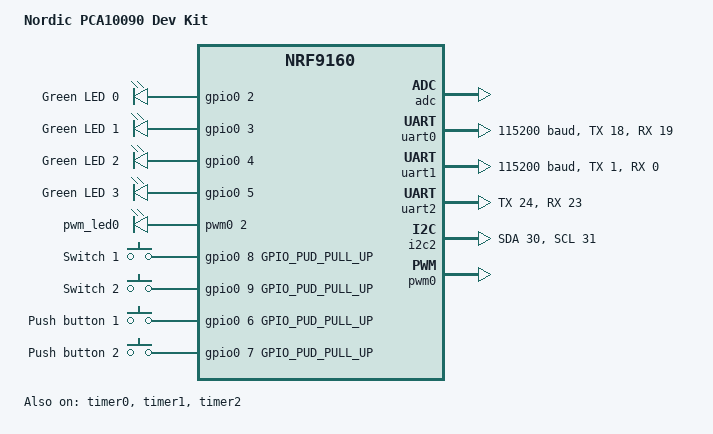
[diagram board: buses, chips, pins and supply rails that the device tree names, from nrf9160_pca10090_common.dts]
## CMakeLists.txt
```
#
# Copyright (c) 2019 Nordic Semiconductor
#
# SPDX-License-Identifier: LicenseRef-BSD-5-Clause-Nordic
#
cmake_minimum_required(VERSION 3.13.1)

include($ENV{ZEPHYR_BASE}/cmake/app/boilerplate.cmake NO_POLICY_SCOPE)
project(store_fs)

target_sources(app PRIVATE src/main.c)
target_sources(app PRIVATE src/elp_connect.c)
```

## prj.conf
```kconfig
#
# Copyright (c) 2019 Nordic Semiconductor ASA
#
# SPDX-License-Identifier: LicenseRef-BSD-5-Clause-Nordic
#
# General config
CONFIG_TEST_RANDOM_GENERATOR=y
CONFIG_LOG=y
CONFIG_LOG_DEFAULT_LEVEL=3

# Network
CONFIG_NETWORKING=y
CONFIG_NET_SOCKETS=y
CONFIG_DNS_RESOLVER=y
CONFIG_NET_NATIVE=n
CONFIG_NET_IPV4=y
CONFIG_NET_IPV6=n

# BSD library
CONFIG_BSD_LIBRARY=y
CONFIG_BSD_LIBRARY_TRACE_ENABLED=y

# Use GPIO
CONFIG_GPIO=y
CONFIG_GPIO_NRFX=y
CONFIG_GPIO_NRF_INIT_PRIORITY=40
CONFIG_GPIO_NRF_P0=y

# UART interface
CONFIG_SERIAL=y
CONFIG_UART_INTERRUPT_DRIVEN=y
#CONFIG_UART_1_NRF_UARTE=y
#CONFIG_UART_1_NRF_FLOW_CONTROL=n
#CONFIG_UART_3_NRF_UARTE=y
#CONFIG_UART_3_NRF_FLOW_CONTROL=n

# Stacks and heaps
CONFIG_MAIN_THREAD_PRIORITY=7
CONFIG_MAIN_STACK_SIZE=4096
CONFIG_HEAP_MEM_POOL_SIZE=16384

# LTE link control
#CONFIG_LTE_AUTO_INIT_AND_CONNECT=n
#CONFIG_LTE_NETWORK_MODE_LTE_M=y

# Device power management
CONFIG_DEVICE_POWER_MANAGEMENT=y

# Application-specific
# CONFIG_ELP_GPIO_WAKEUP=y
#CONFIG_ELP_LOG_LEVEL_INF=y

# setting for RTT Backend
CONFIG_LOG=y
CONFIG_LOG_PRINTK=n
CONFIG_USE_SEGGER_RTT=y
CONFIG_LOG_BACKEND_RTT=y
CONFIG_LOG_BACKEND_UART=n
CONFIG_LOG_IMMEDIATE=n
CONFIG_CONSOLE=n
CONFIG_RTT_CONSOLE=n
CONFIG_UART_CONSOLE=n

#add by liming
#CONFIG_DEPRECATED_ZEPHYR_INT_TYPES=y
```

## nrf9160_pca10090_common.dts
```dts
/*
 * Copyright (c) 2018 Nordic Semiconductor ASA
 *
 * SPDX-License-Identifier: Apache-2.0
 */

/ {
	model = "Nordic PCA10090 Dev Kit";
	compatible = "nordic,pca10090-dk", "nordic,nrf9160-sica",
		     "nordic,nrf9160";

	chosen {
		zephyr,console = &uart0;
		zephyr,shell-uart = &uart0;
		zephyr,uart-mcumgr = &uart0;
	};

	leds {
		compatible = "gpio-leds";
		led0: led_0 {
			gpios = <&gpio0 2 GPIO_INT_ACTIVE_HIGH>;
			label = "Green LED 0";
		};
		led1: led_1 {
			gpios = <&gpio0 3 GPIO_INT_ACTIVE_HIGH>;
			label = "Green LED 1";
		};
		led2: led_2 {
			gpios = <&gpio0 4 GPIO_INT_ACTIVE_HIGH>;
			label = "Green LED 2";
		};
		led3: led_3 {
			gpios = <&gpio0 5 GPIO_INT_ACTIVE_HIGH>;
			label = "Green LED 3";
		};
	};

	pwmleds {
		compatible = "pwm-leds";
		pwm_led0: pwm_led_0 {
			pwms = <&pwm0 2>;
		};
	};

	buttons {
		compatible = "gpio-keys";
		button0: button_0 {
			gpios = <&gpio0 8 GPIO_PUD_PULL_UP>;
			label = "Switch 1";
		};
		button1: button_1 {
			gpios = <&gpio0 9 GPIO_PUD_PULL_UP>;
			label = "Switch 2";
		};
		button2: button_2 {
			gpios = <&gpio0 6 GPIO_PUD_PULL_UP>;
			label = "Push button 1";
		};
		button3: button_3 {
			gpios = <&gpio0 7 GPIO_PUD_PULL_UP>;
			label = "Push button 2";
		};
	};

	/* These aliases are provided for compatibility with samples */
	aliases {
		led0 = &led0;
		led1 = &led1;
		led2 = &led2;
		led3 = &led3;
		pwm-led0 = &pwm_led0;
		sw0 = &button2;
		sw1 = &button3;
		sw2 = &button0;
		sw3 = &button1;
	};
};

&adc {
	status = "okay";
};

&gpiote {
	status = "okay";
};

&gpio0 {
	status = "okay";
};

&uart0 {
	status = "okay";
	current-speed = <115200>;
	tx-pin = <18>;
	rx-pin = <19>;
	rts-pin = <27>;
	cts-pin = <26>;
};

&uart1 {
	status = "okay";
	current-speed = <115200>;
	tx-pin = <1>;
	rx-pin = <0>;
	rts-pin = <14>;
	cts-pin = <15>;
};

&uart2 {
	tx-pin = <24>;
	rx-pin = <23>;
};

&i2c2 {
	compatible = "nordic,nrf-twim";
	status = "okay";
	sda-pin = <30>;
	scl-pin = <31>;
};

&pwm0 {
	status = "okay";
	ch0-pin = <2>;
};

&timer0 {
	status = "okay";
};

&timer1 {
	status = "okay";
};

&timer2 {
	status = "okay";
};

&flash0 {
	/*
	 * For more information, see:
	 * http://docs.zephyrproject.org/latest/guides/dts/index.html#flash-partitions
	 */
	partitions {
		compatible = "fixed-partitions";
		#address-cells = <1>;
		#size-cells = <1>;

		boot_partition: partition@0 {
			label = "mcuboot";
			reg = <0x00000000 0x10000>;
		};
		slot0_partition: partition@10000 {
			label = "image-0";
		};
		slot0_ns_partition: partition@40000 {
			label = "image-0-nonsecure";
		};
		slot1_partition: partition@80000 {
			label = "image-1";
		};
		slot1_ns_partition: partition@b0000 {
			label = "image-1-nonsecure";
		};
		scratch_partition: partition@f0000 {
			label = "image-scratch";
			reg = <0x000f0000 0xa000>;
		};
		storage_partition: partition@fa000 {
			label = "storage";
			reg = <0x000fa000 0x00006000>;
		};
	};
};

/ {
	/* SRAM allocated and used by the BSD library */
	sram0_bsd: memory@20010000 {
		compatible = "mmio-sram";
	};

	/* SRAM allocated to the Non-Secure image */
	sram0_ns: memory@20020000 {
		compatible = "mmio-sram";
	};
};

/* Include partition configuration file */
#include "nrf9160_pca10090_partition_conf.dts"
```

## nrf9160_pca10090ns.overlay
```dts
&uart0 {
	current-speed = <115200>;
	status = "okay";
	tx-pin = <7>;
	rx-pin = <28>;
};

&uart2 {
	current-speed = <115200>;
	status = "okay";
	tx-pin = <20>;
	rx-pin = <21>;
};

&uart3 {
	current-speed = <115200>;
	status = "okay";
	tx-pin = <12>;
	rx-pin = <13>;
};
```

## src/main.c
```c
/*
 * Copyright (c) 2019 Nordic Semiconductor ASA
 *
 * SPDX-License-Identifier: LicenseRef-BSD-5-Clause-Nordic
 */
#include <logging/log.h>

#include <zephyr.h>
#include <stdio.h>
#include <string.h>
#include <init.h>
#include <hal/nrf_gpio.h>
#include "elp_connect.h"

#include <drivers/uart.h>

LOG_MODULE_REGISTER(app, CONFIG_LOG_DEFAULT_LEVEL);

#define BUF_MAXSIZE 1024

static u32_t rece_len=0;

static u8_t rx_buf[BUF_MAXSIZE]={0};
static u8_t tx_buf[BUF_MAXSIZE]={0};

static struct device *uart_ble;

static K_FIFO_DEFINE(fifo_uart_tx_data);
static K_FIFO_DEFINE(fifo_uart_rx_data);

struct uart_data_t
{
	void  *fifo_reserved;
	u8_t    data[BUF_MAXSIZE];
	u16_t   len;
};

static void data_handler(u8_t cmd_type, const u8_t *data_buf, u8_t data_len)
{
  u8_t i;

  for(i=0;i<data_len;i++)
  {
      LOG_INF("len:%d, data[%d]:%02x", data_len, i, data_buf[i]);   
  }

   // LOG_INF("%s, %s, %d\n",cmd_type,data_buf,data_len);
}

void start_execute(void)
{
    int err;
    LOG_INF("here is to start uart example\n");
    err = inter_connect_init(data_handler,UART_0);
    if (err) {
	LOG_ERR("Init inter_connect error: %d", err);
	return;
    }	
}

void ble_send_date_handle(u8_t *buf, u32_t len)
{
	LOG_INF("ble_send_date_handle\n");

	uart_fifo_fill(uart_ble, buf, len);
	uart_irq_tx_enable(uart_ble); 
}

static void uart_receive_data(u8_t data, u32_t datalen)
{
	LOG_INF("uart_rece:%02X\n", data);
	
	rx_buf[rece_len++] = data;
	//if(rece_len == (256*rx_buf[1]+rx_buf[2]+3))	//receivive complete
	//{
	//	ble_receive_date_handle(rx_buf, rece_len);

	//	memset(rx_buf, 0, sizeof(rx_buf));
	//	rece_len = 0;
	//}
	//else				//continue receive
	//{
	//}
}

static void uart_cb(struct device *x)
{
	u8_t tmpbyte = 0;
	u32_t len=0;

	//LOG_INF("uart_cb\n");

	uart_irq_update(x);

	if(uart_irq_rx_ready(x)) 
	{
		while((len = uart_fifo_read(x, &tmpbyte, 1)) > 0)
			uart_receive_data(tmpbyte, 1);
	}
	
	if(uart_irq_tx_ready(x))
	{
		struct uart_data_t *buf;
		u16_t written = 0;

		buf = k_fifo_get(&fifo_uart_tx_data, K_NO_WAIT);
		/* Nothing in the FIFO, nothing to send */
		if(!buf)
		{
			uart_irq_tx_disable(x);
			return;
		}

		while(buf->len > written)
		{
			written += uart_fifo_fill(x, &buf->data[written], buf->len - written);
		}

		while (!uart_irq_tx_complete(x))
		{
			/* Wait for the last byte to get
			* shifted out of the module
			*/
		}

		if (k_fifo_is_empty(&fifo_uart_tx_data))
		{
			uart_irq_tx_disable(x);
		}

		k_free(buf);
	}
}

void ble_init(void)
{
	LOG_INF("ble_init\n");
	
	uart_ble = device_get_binding("UART_0");
	if(!uart_ble)
	{
		LOG_INF("Could not get %s device\n", uart_ble);
		return;
	}

	uart_irq_callback_set(uart_ble, uart_cb);
	uart_irq_rx_enable(uart_ble);
}

void main(void)
{
	//start_execute();
	ble_init();

    while(1)
    {
        k_sleep(K_MSEC(1000));    
    }
}
```

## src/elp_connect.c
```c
/*
 * Copyright (c) 2019 Nordic Semiconductor ASA
 *
 * SPDX-License-Identifier: LicenseRef-BSD-5-Clause-Nordic
 */
#include <logging/log.h>
#include <zephyr.h>
#include <stdio.h>
#include <string.h>
#include <drivers/uart.h>

#include "elp_connect.h"

#define CONFIG_UART_0_NAME	 "UART_0"
#define CONFIG_UART_1_NAME	 "UART_1"
#define CONFIG_UART_2_NAME	 "UART_2"
#define CONFIG_UART_3_NAME	 "UART_3"
#define CONFIG_INTER_CONNECT_UART_BUF_SIZE	1024

LOG_MODULE_REGISTER(conn, CONFIG_LOG_DEFAULT_LEVEL);

#if 0
/** @brief UARTs. */
enum select_uart {
	UART_0,
	UART_1,
	UART_2,
	UART_3
};
#endif

static data_handler_t data_handler_cb;
static struct device *uart_dev0;
static struct device *uart_dev1;
static struct device *uart_dev2;
static struct device *uart_dev3;
static u8_t rx_buff0[CONFIG_INTER_CONNECT_UART_BUF_SIZE];
static u8_t tx_buff0[CONFIG_INTER_CONNECT_UART_BUF_SIZE];
static u8_t rx_buff1[CONFIG_INTER_CONNECT_UART_BUF_SIZE];
static u8_t tx_buff1[CONFIG_INTER_CONNECT_UART_BUF_SIZE];
static u8_t rx_buff2[CONFIG_INTER_CONNECT_UART_BUF_SIZE];
static u8_t tx_buff2[CONFIG_INTER_CONNECT_UART_BUF_SIZE];
static u8_t rx_buff3[CONFIG_INTER_CONNECT_UART_BUF_SIZE];
static u8_t tx_buff3[CONFIG_INTER_CONNECT_UART_BUF_SIZE];

static bool module0_initialized;
static bool module1_initialized;
static bool module2_initialized;
static bool module3_initialized;

static struct k_work rx0_data_handle_work;
static struct k_work rx1_data_handle_work;
static struct k_work rx2_data_handle_work;
static struct k_work rx3_data_handle_work;
#define DEBUG_UART 1


static void rx0_data_handle(struct k_work *work)
{      
	ARG_UNUSED(work);
	if (data_handler_cb == NULL) {
		LOG_ERR("Not itialized");
		return;
	}

#if DEBUG_UART
	//printk("here to print received data\n");
	LOG_INF("here to print received data\n");
	//LOG_INF("%s\n", (char *)rx_buff0);
	printk("%s\n", (char *)rx_buff0);	
    memset(rx_buff0, 0x00, CONFIG_INTER_CONNECT_UART_BUF_SIZE);
#else
	data_handler_cb(rx_buff0[PROT_TYP_POS],
			&rx_buff0[PROT_LEN_POS+1],
			rx_buff0[PROT_LEN_POS]);
#endif
	uart_irq_rx_enable(uart_dev0);
}

static void rx1_data_handle(struct k_work *work)
{
        
	ARG_UNUSED(work);
        

	if (data_handler_cb == NULL) {
		LOG_ERR("Not itialized");
		return;
	}

#if DEBUG_UART
	//printk("here to print received data\n");
	printk("%s\n", (char *)rx_buff1);
        memset(rx_buff1, 0x00, CONFIG_INTER_CONNECT_UART_BUF_SIZE);

#else
	data_handler_cb(rx_buff1[PROT_TYP_POS],
			&rx_buff1[PROT_LEN_POS+1],
			rx_buff1[PROT_LEN_POS]);
#endif
	uart_irq_rx_enable(uart_dev1);
}

static void rx2_data_handle(struct k_work *work)
{
        
	ARG_UNUSED(work);
        

	if (data_handler_cb == NULL) {
		LOG_ERR("Not itialized");
		return;
	}

#if DEBUG_UART
	//printk("here to print received data\n");
	printk("%s\n", (char *)rx_buff2);
        memset(rx_buff2, 0x00, CONFIG_INTER_CONNECT_UART_BUF_SIZE);

#else
	data_handler_cb(rx_buff2[PROT_TYP_POS],
			&rx_buff2[PROT_LEN_POS+1],
			rx_buff2[PROT_LEN_POS]);
#endif
	uart_irq_rx_enable(uart_dev2);
}

static void rx3_data_handle(struct k_work *work)
{
        
	ARG_UNUSED(work);
        

	if (data_handler_cb == NULL) {
		LOG_ERR("Not itialized");
		return;
	}

#if DEBUG_UART
	//printk("here to print received data\n");
	printk("%s\n", (char *)rx_buff3);
        memset(rx_buff3, 0x00, CONFIG_INTER_CONNECT_UART_BUF_SIZE);

#else
	data_handler_cb(rx_buff3[PROT_TYP_POS],
			&rx_buff3[PROT_LEN_POS+1],
			rx_buff3[PROT_LEN_POS]);
#endif
	uart_irq_rx_enable(uart_dev3);
}

int inter_connect_send( enum select_uart uart_sel, u8_t *data_buff, u8_t data_len)
{
#if 0
  uart_poll_out(uart_dev, data_len);
#else
	if(data_len == 0) 
		return -1;
	for (size_t i = 0; i < data_len; i++) {

		switch (uart_sel) {
		case UART_0:
			uart_poll_out(uart_dev0, data_buff[i]);
			break;
		case UART_1:
			uart_poll_out(uart_dev1, data_buff[i]);
			break;
		case UART_2:
			uart_poll_out(uart_dev2, data_buff[i]);
			break;
		case UART_3:
			uart_poll_out(uart_dev3, data_buff[i]);
			break;
		default:
			LOG_ERR("Unknown UART instance %d", uart_sel);
			return -EINVAL;
		
	}
	}

	memset(data_buff, 0x00, data_len);
#endif

        return 0;
}


static void uart0_rx_handler(u8_t character)
{   
	static size_t cmd_len0;
	size_t pos;
#if 0 //DEBUG_UART
	LOG_INF("received %c", character );
#endif
	pos = cmd_len0;
	cmd_len0 += 1;
	/* Detect buffer overflow or zero length */
	if (cmd_len0 > CONFIG_INTER_CONNECT_UART_BUF_SIZE) {
		LOG_ERR("Buffer overflow, dropping '%c'", character);
		cmd_len0 = CONFIG_INTER_CONNECT_UART_BUF_SIZE;
		return;
	} else if (cmd_len0 < 1) {
		LOG_ERR("Invalid packet length: %d", cmd_len0);
		cmd_len0 = 0;
		return;
	}
	rx_buff0[pos] = character;
	/* Check if all packet is received. */
#if DEBUG_UART
	if(rx_buff0[pos] =='\n')
	{
		memset(tx_buff0, 0x00, CONFIG_INTER_CONNECT_UART_BUF_SIZE);
		memcpy(tx_buff0, rx_buff0, cmd_len0);
		//printk("to send\n");
		inter_connect_send(UART_0, tx_buff0, cmd_len0);
		//k_sleep(100);
		goto send;
	}
#else
	if (pos == (PROT_LEN_POS + pkt_length + 1)) {
		goto send;
	}
#endif

	return;

send:
	uart_irq_rx_disable(uart_dev0);
	k_work_submit(&rx0_data_handle_work);
	cmd_len0 = 0;
}



static void uart1_rx_handler(u8_t character)
{

    
	static size_t cmd_len1;
  
	size_t pos;
#if DEBUG_UART
	LOG_INF("received:%02X", character);
#endif

	pos = cmd_len1;
	cmd_len1 += 1;


	/* Detect buffer overflow or zero length */
	if (cmd_len1 > CONFIG_INTER_CONNECT_UART_BUF_SIZE) {
		LOG_ERR("Buffer overflow, dropping '%c'", character);
		cmd_len1 = CONFIG_INTER_CONNECT_UART_BUF_SIZE;
		return;
	} else if (cmd_len1 < 1) {
		LOG_ERR("Invalid packet length: %d", cmd_len1);
		cmd_len1 = 0;
		return;
	}

	rx_buff1[pos] = character;

	/* Check if all packet is received. */
	#if DEBUG_UART
	if(rx_buff1[pos] =='\n')
	{
		memset(tx_buff1, 0x00, CONFIG_INTER_CONNECT_UART_BUF_SIZE);
		memcpy(tx_buff1, rx_buff1, cmd_len1);
		//printk("to send\n");
		inter_connect_send(UART_1, tx_buff1, cmd_len1);
		//k_sleep(100);
		goto send;
	}

	#else
	if (pos == (PROT_LEN_POS + pkt_length + 1)) {
		goto send;
	}
	#endif
	return;

send:
	uart_irq_rx_disable(uart_dev1);
	k_work_submit(&rx1_data_handle_work);
	cmd_len1 = 0;

}


static void uart2_rx_handler(u8_t character)
{

    
	static size_t cmd_len2;
  
	size_t pos;
	#if 0//DEBUG_UART
	LOG_INF("received %c", character );
	#endif

	pos = cmd_len2;
	cmd_len2 += 1;


	/* Detect buffer overflow or zero length */
	if (cmd_len2 > CONFIG_INTER_CONNECT_UART_BUF_SIZE) {
		LOG_ERR("Buffer overflow, dropping '%c'", character);
		cmd_len2 = CONFIG_INTER_CONNECT_UART_BUF_SIZE;
		return;
	} else if (cmd_len2 < 1) {
		LOG_ERR("Invalid packet length: %d", cmd_len2);
		cmd_len2 = 0;
		return;
	}

	rx_buff2[pos] = character;

	/* Check if all packet is received. */
	#if DEBUG_UART
	if(rx_buff2[pos] =='\n')
	{
		memset(tx_buff2, 0x00, CONFIG_INTER_CONNECT_UART_BUF_SIZE);
		memcpy(tx_buff2, rx_buff2, cmd_len2);
		//printk("to send\n");
		inter_connect_send(UART_2, tx_buff2, cmd_len2);
		//k_sleep(100);
		goto send;
	}

	#else
	if (pos == (PROT_LEN_POS + pkt_length + 1)) {
		goto send;
	}
	#endif
	return;

send:
	uart_irq_rx_disable(uart_dev2);
	k_work_submit(&rx2_data_handle_work);
	cmd_len2 = 0;

}



static void uart3_rx_handler(u8_t character)
{

    
	static size_t cmd_len3;
  
	size_t pos;
	#if 0//DEBUG_UART
	LOG_INF("received %c", character );
	#endif

	pos = cmd_len3;
	cmd_len3 += 1;


	/* Detect buffer overflow or zero length */
	if (cmd_len3 > CONFIG_INTER_CONNECT_UART_BUF_SIZE) {
		LOG_ERR("Buffer overflow, dropping '%c'", character);
		cmd_len3 = CONFIG_INTER_CONNECT_UART_BUF_SIZE;
		return;
	} else if (cmd_len3 < 1) {
		LOG_ERR("Invalid packet length: %d", cmd_len3);
		cmd_len3 = 0;
		return;
	}

	rx_buff3[pos] = character;

	/* Check if all packet is received. */
	#if DEBUG_UART
	if(rx_buff3[pos] =='\n')
	{
		memset(tx_buff3, 0x00, CONFIG_INTER_CONNECT_UART_BUF_SIZE);
		memcpy(tx_buff3, rx_buff3, cmd_len3);
		//printk("to send\n");
		inter_connect_send(UART_3, tx_buff3, cmd_len3);
		//k_sleep(100);
		goto send;
	}

	#else
	if (pos == (PROT_LEN_POS + pkt_length + 1)) {
		goto send;
	}
	#endif
	return;

send:
	uart_irq_rx_disable(uart_dev3);
	k_work_submit(&rx3_data_handle_work);
	cmd_len3 = 0;

}


static void if0_isr(struct device *dev)
{
	u8_t character;
	u32_t i,len=0;
	u8_t tmpbuf[256] = {0};

	uart_irq_update(dev);
	if(uart_irq_rx_ready(dev))
	{
		/* keep reading until drain all */
		while (uart_fifo_read(dev, &character, 1))
		{
			//uart0_rx_handler(character);
			tmpbuf[len++] = character;
		}

		for(i=0;i<len;i++)
		{
			LOG_INF("len:%d, data[%d]:%02x", len, i, tmpbuf[i]);  
		}
	}
}

static void if1_isr(struct device *dev)
{
	u8_t character;

	uart_irq_update(dev);

	if (uart_irq_rx_ready(dev)) {
		/* keep reading until drain all */
		while (uart_fifo_read(dev, &character, 1)) {
			uart1_rx_handler( character);
		}
	}
}

static void if2_isr(struct device *dev)
{
	u8_t character;

	uart_irq_update(dev);

	if (uart_irq_rx_ready(dev)) {
		/* keep reading until drain all */
		while (uart_fifo_read(dev, &character, 1)) {
			uart2_rx_handler( character);
		}
	}
}

static void if3_isr(struct device *dev)
{
	u8_t character;

	uart_irq_update(dev);

	if (uart_irq_rx_ready(dev)) {
		/* keep reading until drain all */
		while (uart_fifo_read(dev, &character, 1)) {
			uart3_rx_handler(character);
		}
	}
}
#if 0
static int if_uart_init(char *uart_dev_name)
{
	int err;
	uart_dev = device_get_binding(uart_dev_name);
	if (uart_dev == NULL) {
		LOG_ERR("Cannot bind %s", uart_dev_name);
		return -EINVAL;
	}
	err = uart_err_check(uart_dev);
	if (err) {
		LOG_WRN("UART check failed: %d", err);
	}
	uart_irq_callback_set(uart_dev, if_isr);
	return 0;
}
#endif

int inter_connect_init(data_handler_t data_handler, enum select_uart uart_sel)
{
	char *uart_dev_name;
	int err;
	enum select_uart uart_id = uart_sel;

	if (data_handler == NULL) {
		LOG_ERR("Data handler is null");
		return -EINVAL;
	}
	data_handler_cb = data_handler;

	/* Choose which UART to use */
	switch (uart_id) {
	case UART_0:

		uart_dev0 = device_get_binding(CONFIG_UART_0_NAME);
		if (uart_dev0 == NULL) {
		LOG_ERR("Cannot bind %s", CONFIG_UART_0_NAME);
		return -EINVAL;
		}
		err = uart_err_check(uart_dev0);
		if (err) {
		LOG_WRN("UART check failed: %d", err);
		}
		uart_irq_callback_set(uart_dev0, if0_isr);
		k_work_init(&rx0_data_handle_work, rx0_data_handle);
		memset(rx_buff0, 0x00, CONFIG_INTER_CONNECT_UART_BUF_SIZE);
		uart_irq_rx_enable(uart_dev0);
		module0_initialized = true;
		break;

	case UART_1:
		uart_dev1 = device_get_binding(CONFIG_UART_1_NAME);
		
		if (uart_dev1 == NULL) {
		LOG_ERR("Cannot bind %s", CONFIG_UART_1_NAME);
		return -EINVAL;
		}
		err = uart_err_check(uart_dev1);
		if (err) {
		LOG_WRN("UART check failed: %d", err);
		}
	
		uart_irq_callback_set(uart_dev1, if1_isr);
		k_work_init(&rx1_data_handle_work, rx1_data_handle);
		memset(rx_buff1, 0x00, CONFIG_INTER_CONNECT_UART_BUF_SIZE);
		uart_irq_rx_enable(uart_dev1);
		module1_initialized = true;
		break;
		
	case UART_2:
		uart_dev2 = device_get_binding(CONFIG_UART_2_NAME);
		
		if (uart_dev2 == NULL) {
		LOG_ERR("Cannot bind %s", CONFIG_UART_2_NAME);
		return -EINVAL;
		}
		err = uart_err_check(uart_dev2);
		if (err) {
		LOG_WRN("UART check failed: %d", err);
		}
		uart_irq_callback_set(uart_dev2, if2_isr);
		k_work_init(&rx2_data_handle_work, rx2_data_handle);
		memset(rx_buff2, 0x00, CONFIG_INTER_CONNECT_UART_BUF_SIZE);
		uart_irq_rx_enable(uart_dev2);
		module2_initialized = true;
		break;
	case UART_3:
			uart_dev3 = device_get_binding(CONFIG_UART_3_NAME);
		
		if (uart_dev3 == NULL) {
		LOG_ERR("Cannot bind %s", CONFIG_UART_3_NAME);
		return -EINVAL;
		}
		err = uart_err_check(uart_dev3);
		if (err) {
		LOG_WRN("UART check failed: %d", err);
		}
		
		uart_irq_callback_set(uart_dev3, if3_isr);
		k_work_init(&rx3_data_handle_work, rx3_data_handle);
		memset(rx_buff3, 0x00, CONFIG_INTER_CONNECT_UART_BUF_SIZE);
		uart_irq_rx_enable(uart_dev3);
		module3_initialized = true;
		break;
	default:
		LOG_ERR("Unknown UART instance %d", uart_id);
		return -EINVAL;
	}


	return err;
}

int inter_connect_uninit(void)
{
	int err = 0;

#if defined(CONFIG_DEVICE_POWER_MANAGEMENT)


	err = device_set_power_state(uart_dev0, DEVICE_PM_OFF_STATE,
				NULL, NULL);
	if (err != 0) {
		LOG_WRN("Can't power off uart err=%d", err);
	}

        err = device_set_power_state(uart_dev1, DEVICE_PM_OFF_STATE,
				NULL, NULL);
	if (err != 0) {
		LOG_WRN("Can't power off uart err=%d", err);
	}

        err = device_set_power_state(uart_dev2, DEVICE_PM_OFF_STATE,
				NULL, NULL);
	if (err != 0) {
		LOG_WRN("Can't power off uart err=%d", err);
	}

        err = device_set_power_state(uart_dev3, DEVICE_PM_OFF_STATE,
				NULL, NULL);
	if (err != 0) {
		LOG_WRN("Can't power off uart err=%d", err);
	}
#endif
	return 0;
}
```

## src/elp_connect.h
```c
/*
 * Copyright (c) 2019 Nordic Semiconductor ASA
 *
 * SPDX-License-Identifier: LicenseRef-BSD-5-Clause-Nordic
 */

#ifndef ELP_CONNECT_H_
#define ELP_CONNECT_H_

/**@file elp_connect.h
 *
 * @brief nRF52/nRF91 inter-connect protocol.
 * @{
 */

#include <stdlib.h>
#include <zephyr/types.h>


/** Unsolicited notification type. */


/**
 * @typedef data_handler_t
 * @brief Callback when data is received from inter_connect interface.
 *
 * @param data_type Type of data, see ic_cmd_type.
 * @param data_buf Data buffer.
 * @param data_len Length of data buffer.
 */
typedef void (*data_handler_t)(u8_t data_type, const u8_t *data_buf,
				u8_t data_len);


/** @brief UARTs. */
enum select_uart {
	UART_0,
	UART_1,
	UART_2,
	UART_3
};
/** @brief Initialize the library.
 *
 * @param data_handler Callback handler for received data.
 *
 * @retval 0 If the operation was successful.
 *	Otherwise, a (negative) error code is returned.
 */
#if 0
int inter_connect_init(data_handler_t data_handler);
#else
int inter_connect_init(data_handler_t data_handler, enum select_uart uart_selected);
#endif

/** @brief Uninitialize the library.
 *
 * @retval 0 If the operation was successful.
 *	Otherwise, a (negative) error code is returned.
 */
int inter_connect_uninit(void);

/** @brief Send data or command response to the peer.
 *
 * @param data_type Type of response, see ic_cmd_type.
 * @param data_buf Data buffer.
 * @param data_len Length of data buffer.
 *
 * @retval 0 If the operation was successful.
 *	Otherwise, a (negative) error code is returned.
 */
#if 0
int inter_connect_send( u8_t *data_buff, u8_t data_len);
#else
int inter_connect_send( enum select_uart uart_sel, u8_t *data_buff, u8_t data_len);
#endif


/** @brief Send unsolicited response to the peer.
 *
 * @param data_type Type of notification, see ic_notify_type.
 * @param data_buf Data buffer.
 * @param data_len Length of data buffer.
 *

/** @} */

#endif /* ELP_CONNECT_H_ */
```
